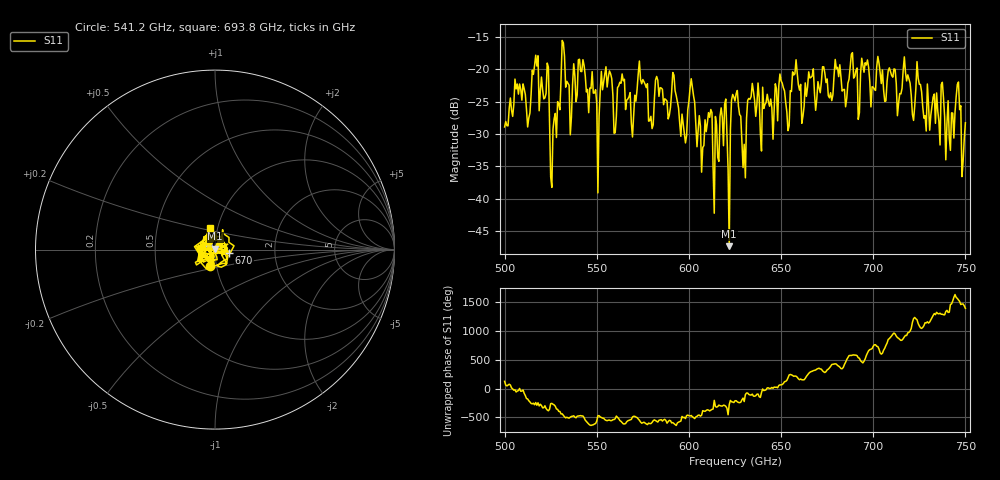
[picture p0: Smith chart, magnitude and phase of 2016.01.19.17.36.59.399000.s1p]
!Created with skrf (http://scikit-rf.org).
# GHz S RI R 50.0
!freq ReS11 ImS11
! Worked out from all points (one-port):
!   401 points, 500 GHz to 750 GHz, reference 50 ohm
!   lowest |S11| = -47.3 dB at 621.9 GHz (marker M1), VSWR 1.01, Z = 50 + j0.43 ohm
!   |S11| at or under -10 dB: start of sweep to end of sweep
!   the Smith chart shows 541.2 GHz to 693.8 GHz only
!   S11 on the Smith chart (normalised r, x): 541.2 GHz: 0.93, -0.17; 670 GHz: 1.17, -0.05; 693.8 GHz: 0.92, +0.22
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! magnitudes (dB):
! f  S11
! 500 GHz  -28.9
! 506.9 GHz  -22.3
! 513.1 GHz  -27.5
! 516.9 GHz  -17.9
! 523.1 GHz  -19.1
! 525.6 GHz  -38.2
! 531.2 GHz  -15.6
! 535.6 GHz  -30.1
! 541.2 GHz  -20.3
! 550 GHz  -25.3
! 553.8 GHz  -21.9
! 560 GHz  -29.8
! 562.5 GHz  -22.0
! 593.8 GHz  -25.0
! 598.1 GHz  -31.4
! 601.9 GHz  -22.8
! 614.4 GHz  -27.3
! 618.8 GHz  -31.8
! 621.9 GHz  -47.3
! 625 GHz  -24.9
! 630 GHz  -31.6
! 633.8 GHz  -24.2
! 656.2 GHz  -20.4
! 670 GHz  -21.9
! 687.5 GHz  -19.6
! 693.8 GHz  -18.3
! 718.8 GHz  -20.9
! 750 GHz  -28.3
